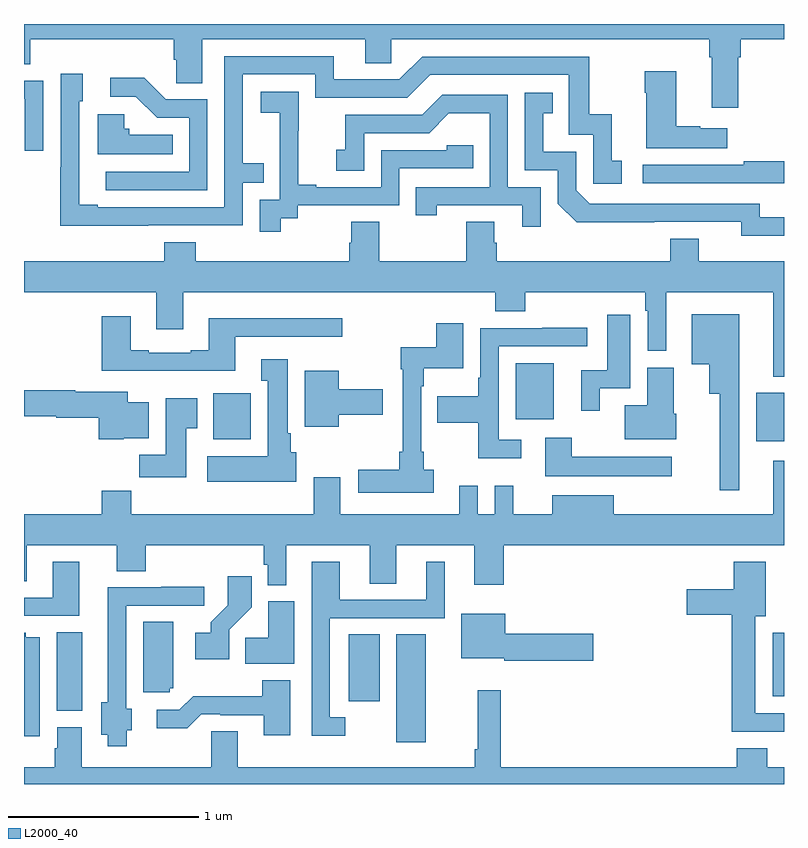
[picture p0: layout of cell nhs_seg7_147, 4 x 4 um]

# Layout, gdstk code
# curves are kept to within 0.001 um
import gdstk
lib = gdstk.Library(unit=1e-6, precision=1e-09)
def R(c, l, rs):  # rectangles x0, y0, x1, y1
    for r in rs: c.add(gdstk.rectangle(r[:2], r[2:], *l))
def P(c, l, *ps):  # polygons
    for p in ps: c.add(gdstk.Polygon(p, *l))
L2000_40 = (2000, 40)

nhs_seg7_147 = lib.new_cell('nhs_seg7_147')
R(nhs_seg7_147, L2000_40, [(122.96,1026.219,123.115,1026.788), (121.172,1026.385,121.306,1026.8), (122.708,1026.435,122.872,1026.788), (124.94,1026.461,125,1026.796), (124.853,1027.805,125,1028.059), (121.997,1027.814,122.194,1028.056), (123.587,1027.919,123.787,1028.215)])
P(nhs_seg7_147, L2000_40, [(124.759,1029.824),(124.772,1029.824),(124.772,1029.92),(125,1029.92),(125,1030),(121,1030),(121,1029.787),(121.034,1029.787),(121.034,1029.92),(121.787,1029.92),(121.787,1029.811),(121.8,1029.811),(121.8,1029.688),(121.939,1029.688),(121.939,1029.92),(122.795,1029.92),(122.795,1029.793),(122.934,1029.793),(122.934,1029.92),(124.607,1029.92),(124.607,1029.824),(124.619,1029.824),(124.619,1029.558),(124.759,1029.558)],
  [(121.655,1028.94),(122.151,1028.94),(122.151,1029.165),(122.261,1029.165),(122.261,1029.266),(122.151,1029.266),(122.151,1029.735),(122.532,1029.735),(122.532,1029.612),(123.018,1029.612),(123.138,1029.732),(123.867,1029.732),(123.867,1029.417),(123.996,1029.417),(123.996,1029.159),(124.147,1029.159),(124.147,1029.279),(124.094,1029.279),(124.094,1029.526),(123.976,1029.526),(123.976,1029.828),(123.096,1029.828),(122.976,1029.708),(122.629,1029.708),(122.629,1029.831),(122.055,1029.831),(122.055,1029.036),(121.387,1029.036),(121.387,1029.049),(121.29,1029.049),(121.29,1029.594),(121.309,1029.594),(121.309,1029.739),(121.194,1029.739),(121.194,1029.245),(121.192,1029.245),(121.192,1028.939)],
  [(124.702,1029.451),(124.559,1029.451),(124.559,1029.461),(124.432,1029.461),(124.432,1029.751),(124.267,1029.751),(124.267,1029.638),(124.274,1029.638),(124.274,1029.347),(124.702,1029.347)],
  [(121.965,1029.603),(121.746,1029.603),(121.633,1029.716),(121.455,1029.716),(121.455,1029.618),(121.589,1029.618),(121.7,1029.507),(121.869,1029.507),(121.869,1029.222),(121.431,1029.222),(121.431,1029.126),(121.965,1029.126)],
  [(121.101,1029.702),(121,1029.702),(121,1029.606),(121.005,1029.606),(121.005,1029.333),(121.101,1029.333)],
  [(122.35,1028.977),(122.442,1028.977),(122.442,1029.045),(122.976,1029.045),(122.976,1029.24),(123.365,1029.24),(123.365,1029.363),(123.225,1029.363),(123.225,1029.336),(122.88,1029.336),(122.88,1029.141),(122.539,1029.141),(122.539,1029.154),(122.444,1029.154),(122.444,1029.437),(122.445,1029.437),(122.445,1029.643),(122.247,1029.643),(122.247,1029.533),(122.345,1029.533),(122.345,1029.305),(122.346,1029.305),(122.346,1029.075),(122.241,1029.075),(122.241,1028.907),(122.35,1028.907)],
  [(125,1028.982),(124.872,1028.982),(124.872,1029.054),(123.978,1029.054),(123.906,1029.126),(123.906,1029.327),(123.733,1029.327),(123.733,1029.531),(123.782,1029.531),(123.782,1029.637),(123.636,1029.637),(123.636,1029.231),(123.81,1029.231),(123.81,1029.054),(123.908,1028.957),(124.776,1028.958),(124.776,1028.885),(125,1028.885)],
  [(123.72,1029.141),(123.546,1029.141),(123.546,1029.627),(123.2,1029.627),(123.095,1029.522),(122.692,1029.522),(122.692,1029.337),(122.643,1029.337),(122.643,1029.228),(122.79,1029.228),(122.79,1029.426),(123.132,1029.426),(123.236,1029.53),(123.45,1029.53),(123.45,1029.141),(123.061,1029.141),(123.061,1028.994),(123.172,1028.994),(123.172,1029.045),(123.623,1029.045),(123.623,1028.934),(123.72,1028.934)],
  [(121.784,1029.418),(121.554,1029.418),(121.554,1029.45),(121.527,1029.45),(121.527,1029.526),(121.388,1029.526),(121.388,1029.314),(121.784,1029.314)],
  [(125,1029.278),(124.789,1029.278),(124.789,1029.258),(124.257,1029.258),(124.257,1029.162),(125,1029.162)],
  [(125,1028.752),(124.552,1028.752),(124.552,1028.869),(124.4,1028.869),(124.4,1028.752),(123.488,1028.752),(123.488,1028.85),(123.475,1028.85),(123.475,1028.96),(123.328,1028.96),(123.328,1028.752),(122.871,1028.752),(122.871,1028.96),(122.723,1028.96),(122.723,1028.85),(122.711,1028.85),(122.711,1028.752),(121.904,1028.752),(121.904,1028.851),(121.739,1028.851),(121.739,1028.752),(121,1028.752),(121,1028.588),(121.697,1028.588),(121.697,1028.394),(121.837,1028.394),(121.837,1028.588),(123.479,1028.588),(123.479,1028.489),(123.639,1028.489),(123.639,1028.588),(124.269,1028.588),(124.269,1028.492),(124.284,1028.492),(124.284,1028.28),(124.381,1028.28),(124.381,1028.588),(124.943,1028.588),(124.943,1028.144),(125,1028.144)],
  [(124.765,1028.473),(124.514,1028.473),(124.514,1028.21),(124.607,1028.21),(124.607,1028.054),(124.661,1028.054),(124.661,1027.545),(124.765,1027.545)],
  [(124.03,1028.082),(124.192,1028.082),(124.192,1028.357),(124.191,1028.357),(124.191,1028.47),(124.07,1028.47),(124.07,1028.178),(123.932,1028.178),(123.932,1027.965),(124.03,1027.965)],
  [(122.113,1028.355),(122.674,1028.355),(122.674,1028.452),(121.973,1028.452),(121.973,1028.284),(121.877,1028.284),(121.877,1028.271),(121.657,1028.271),(121.657,1028.284),(121.561,1028.284),(121.561,1028.461),(121.409,1028.461),(121.409,1028.174),(122.113,1028.174)],
  [(123.157,1027.654),(123.103,1027.654),(123.103,1027.75),(123.09,1027.75),(123.09,1028.093),(123.103,1028.093),(123.103,1028.189),(123.313,1028.189),(123.313,1028.425),(123.17,1028.425),(123.17,1028.299),(122.982,1028.299),(122.982,1028.183),(122.994,1028.183),(122.994,1027.75),(122.974,1027.75),(122.974,1027.654),(122.76,1027.654),(122.76,1027.532),(123.157,1027.532)],
  [(123.616,1027.812),(123.498,1027.812),(123.498,1028.304),(123.964,1028.304),(123.964,1028.402),(123.727,1028.402),(123.727,1028.4),(123.402,1028.4),(123.402,1028.137),(123.39,1028.137),(123.39,1028.041),(123.175,1028.041),(123.175,1027.901),(123.39,1027.901),(123.39,1027.715),(123.616,1027.715)],
  [(122.434,1027.746),(122.404,1027.746),(122.404,1027.846),(122.389,1027.846),(122.389,1028.236),(122.249,1028.236),(122.249,1028.123),(122.282,1028.123),(122.282,1027.726),(121.965,1027.726),(121.965,1027.592),(122.434,1027.592)],
  [(124.432,1027.95),(124.42,1027.95),(124.42,1028.191),(124.28,1028.191),(124.28,1027.993),(124.163,1027.993),(124.163,1027.814),(124.432,1027.814)],
  [(122.656,1027.943),(122.887,1027.943),(122.887,1028.078),(122.656,1028.078),(122.656,1028.176),(122.477,1028.176),(122.477,1027.88),(122.656,1027.88)],
  [(121.524,1027.82),(121.657,1027.82),(121.657,1028.008),(121.546,1028.008),(121.546,1028.065),(121.27,1028.065),(121.27,1028.072),(121,1028.072),(121,1027.936),(121.17,1027.936),(121.17,1027.928),(121.394,1027.928),(121.394,1027.814),(121.524,1027.814)],
  [(121.855,1027.873),(121.912,1027.873),(121.912,1028.029),(121.745,1028.029),(121.745,1027.732),(121.606,1027.732),(121.606,1027.614),(121.855,1027.614)],
  [(124.408,1027.723),(123.883,1027.723),(123.883,1027.822),(123.743,1027.822),(123.743,1027.619),(124.408,1027.619)],
  [(122.38,1027.256),(122.819,1027.256),(122.819,1027.054),(122.959,1027.054),(122.959,1027.256),(123.371,1027.256),(123.371,1027.05),(123.524,1027.05),(123.524,1027.256),(125,1027.256),(125,1027.702),(124.943,1027.702),(124.943,1027.42),(124.105,1027.42),(124.105,1027.519),(123.779,1027.519),(123.779,1027.42),(123.575,1027.42),(123.575,1027.57),(123.477,1027.57),(123.477,1027.42),(123.387,1027.42),(123.387,1027.57),(123.29,1027.57),(123.29,1027.42),(122.665,1027.42),(122.665,1027.615),(122.525,1027.615),(122.525,1027.42),(121.565,1027.42),(121.565,1027.544),(121.409,1027.544),(121.409,1027.42),(121,1027.42),(121,1027.066),(121.015,1027.066),(121.015,1027.256),(121.487,1027.256),(121.487,1027.12),(121.64,1027.12),(121.64,1027.256),(122.263,1027.256),(122.263,1027.155),(122.283,1027.155),(122.283,1027.046),(122.38,1027.046)],
  [(122.692,1026.351),(122.61,1026.351),(122.61,1026.873),(123.214,1026.873),(123.214,1027.171),(123.116,1027.171),(123.116,1026.969),(122.662,1026.969),(122.662,1027.171),(122.514,1027.171),(122.514,1026.254),(122.692,1026.254)],
  [(125,1026.372),(124.849,1026.372),(124.849,1026.884),(124.903,1026.884),(124.903,1027.171),(124.736,1027.171),(124.736,1027.024),(124.488,1027.024),(124.488,1026.89),(124.724,1026.89),(124.724,1026.275),(125,1026.275)],
  [(121.291,1027.171),(121.151,1027.171),(121.151,1026.981),(121,1026.981),(121,1026.885),(121.291,1026.885)],
  [(122.079,1026.811),(122.198,1026.93),(122.198,1027.093),(122.073,1027.093),(122.073,1026.941),(121.982,1026.851),(121.982,1026.796),(121.902,1026.796),(121.902,1026.656),(122.079,1026.656)],
  [(121.54,1026.282),(121.567,1026.282),(121.567,1026.396),(121.539,1026.396),(121.539,1026.939),(121.948,1026.939),(121.948,1027.038),(121.723,1027.038),(121.723,1027.035),(121.442,1027.035),(121.442,1026.43),(121.406,1026.43),(121.406,1026.26),(121.442,1026.26),(121.442,1026.2),(121.54,1026.2)],
  [(122.422,1026.961),(122.285,1026.961),(122.285,1026.77),(122.164,1026.77),(122.164,1026.632),(122.422,1026.632)],
  [(123.997,1026.792),(123.532,1026.792),(123.532,1026.895),(123.302,1026.895),(123.302,1026.662),(123.528,1026.662),(123.528,1026.65),(123.997,1026.65)],
  [(121.767,1026.504),(121.786,1026.504),(121.786,1026.853),(121.628,1026.853),(121.628,1026.483),(121.767,1026.483)],
  [(121.084,1026.772),(121.008,1026.772),(121.008,1026.796),(121,1026.796),(121,1026.252),(121.084,1026.252)],
  [(122.401,1026.547),(122.254,1026.547),(122.254,1026.463),(121.891,1026.463),(121.818,1026.39),(121.698,1026.39),(121.698,1026.293),(121.859,1026.293),(121.932,1026.366),(122.032,1026.366),(122.032,1026.363),(122.261,1026.363),(122.261,1026.257),(122.401,1026.257)],
  [(125,1026.088),(124.911,1026.088),(124.911,1026.187),(124.751,1026.187),(124.751,1026.088),(123.509,1026.088),(123.509,1026.493),(123.388,1026.493),(123.388,1026.184),(123.373,1026.184),(123.373,1026.088),(122.125,1026.088),(122.125,1026.278),(121.986,1026.278),(121.986,1026.088),(121.303,1026.088),(121.303,1026.3),(121.175,1026.3),(121.175,1026.189),(121.163,1026.189),(121.163,1026.088),(121,1026.088),(121,1026),(125,1026)])

lib.write_gds('nhs_seg7_147.gds')
